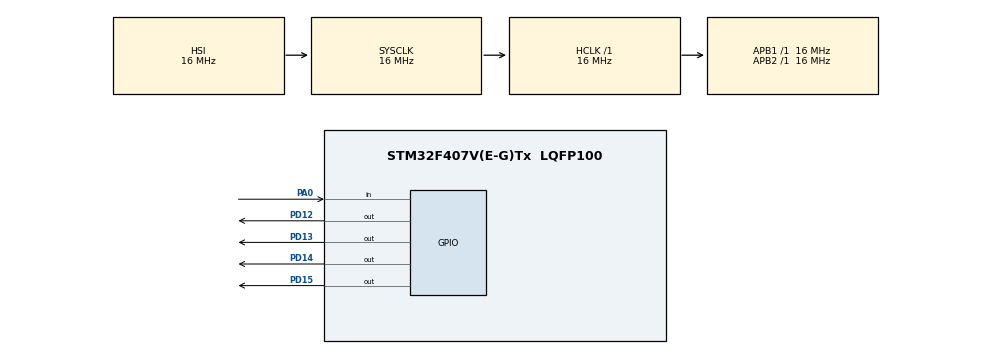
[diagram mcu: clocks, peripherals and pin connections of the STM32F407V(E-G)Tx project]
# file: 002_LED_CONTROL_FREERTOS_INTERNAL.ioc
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FREERTOS.Tasks01=buttonTask,0,128,buttonControlTask,Default,NULL,Dynamic,NULL,NULL;led,0,128,ledFlashTask,Default,NULL,Dynamic,NULL,NULL
Mcu.Family=STM32F4
Mcu.Name=STM32F407V(E-G)Tx
Mcu.Package=LQFP100
NVIC.PriorityGroup=NVIC_PRIORITYGROUP_4
PA0-WKUP.Signal=GPIO_Input
PD12.Signal=GPIO_Output
PD13.Signal=GPIO_Output
PD14.Signal=GPIO_Output
PD15.Signal=GPIO_Output
ProjectManager.HeapSize=0x200
ProjectManager.StackSize=0x400
ProjectManager.TargetToolchain=STM32CubeIDE
RCC.AHBFreq_Value=16000000
RCC.APB1Freq_Value=16000000
RCC.APB2Freq_Value=16000000
RCC.CortexFreq_Value=16000000
RCC.HSE_VALUE=25000000
RCC.HSI_VALUE=16000000
RCC.LSE_VALUE=32768
RCC.SYSCLKFreq_VALUE=16000000
RCC.VCOOutputFreq_Value=192000000
VP_FREERTOS_VS_CMSIS_V1.Mode=CMSIS_V1
board=custom

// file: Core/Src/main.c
/* USER CODE BEGIN Header */
/**
  ******************************************************************************
  * @file           : main.c
  * @brief          : Main program body
  ******************************************************************************
  * @attention
  *
  * <h2><center>&copy; Copyright (c) 2020 STMicroelectronics.
  * All rights reserved.</center></h2>
  *
  * This software component is licensed by ST under BSD 3-Clause license,
  * the "License"; You may not use this file except in compliance with the
  * License. You may obtain a copy of the License at:
  *                        opensource.org/licenses/BSD-3-Clause
  *
  ******************************************************************************
  */
/* USER CODE END Header */
#include "main.h"
#include "cmsis_os.h"

osThreadId buttonTaskHandle;
osThreadId ledHandle;
/* USER CODE BEGIN PV */
uint8_t counter;
/* USER CODE END PV */

void SystemClock_Config(void);
static void MX_GPIO_Init(void);
void buttonControlTask(void const * argument);
void ledFlashTask(void const * argument);

int main(void)
{

  /* MCU Configuration--------------------------------------------------------*/

  /* Reset of all peripherals, Initializes the Flash interface and the Systick. */
  HAL_Init();

  /* Configure the system clock */
  SystemClock_Config();

  /* Initialize all configured peripherals */
  MX_GPIO_Init();

  /* Create the thread(s) */
  /* definition and creation of buttonTask */
  osThreadDef(buttonTask, buttonControlTask, osPriorityHigh, 0, 128);
  buttonTaskHandle = osThreadCreate(osThread(buttonTask), NULL);

  /* definition and creation of led */
  osThreadDef(led, ledFlashTask, osPriorityHigh, 0, 128);
  ledHandle = osThreadCreate(osThread(led), NULL);

  /* Start scheduler */
  osKernelStart();

  /* We should never get here as control is now taken by the scheduler */
  /* Infinite loop */
  while (1)
  {

  }
}

void SystemClock_Config(void)
{
  RCC_OscInitTypeDef RCC_OscInitStruct = {0};
  RCC_ClkInitTypeDef RCC_ClkInitStruct = {0};

  /** Configure the main internal regulator output voltage
  */
  __HAL_RCC_PWR_CLK_ENABLE();
  __HAL_PWR_VOLTAGESCALING_CONFIG(PWR_REGULATOR_VOLTAGE_SCALE1);
  /** Initializes the RCC Oscillators according to the specified parameters
  * in the RCC_OscInitTypeDef structure.
  */
  RCC_OscInitStruct.OscillatorType = RCC_OSCILLATORTYPE_HSI;
  RCC_OscInitStruct.HSIState = RCC_HSI_ON;
  RCC_OscInitStruct.HSICalibrationValue = RCC_HSICALIBRATION_DEFAULT;
  RCC_OscInitStruct.PLL.PLLState = RCC_PLL_NONE;
  if (HAL_RCC_OscConfig(&RCC_OscInitStruct) != HAL_OK)
  {
    Error_Handler();
  }
  /** Initializes the CPU, AHB and APB buses clocks
  */
  RCC_ClkInitStruct.ClockType = RCC_CLOCKTYPE_HCLK|RCC_CLOCKTYPE_SYSCLK
                              |RCC_CLOCKTYPE_PCLK1|RCC_CLOCKTYPE_PCLK2;
  RCC_ClkInitStruct.SYSCLKSource = RCC_SYSCLKSOURCE_HSI;
  RCC_ClkInitStruct.AHBCLKDivider = RCC_SYSCLK_DIV1;
  RCC_ClkInitStruct.APB1CLKDivider = RCC_HCLK_DIV1;
  RCC_ClkInitStruct.APB2CLKDivider = RCC_HCLK_DIV1;

  if (HAL_RCC_ClockConfig(&RCC_ClkInitStruct, FLASH_LATENCY_0) != HAL_OK)
  {
    Error_Handler();
  }
}

static void MX_GPIO_Init(void)
{
  GPIO_InitTypeDef GPIO_InitStruct = {0};

  /* GPIO Ports Clock Enable */
  __HAL_RCC_GPIOA_CLK_ENABLE();
  __HAL_RCC_GPIOD_CLK_ENABLE();

  /*Configure GPIO pin Output Level */
  HAL_GPIO_WritePin(GPIOD, GPIO_PIN_12|GPIO_PIN_13|GPIO_PIN_14|GPIO_PIN_15, GPIO_PIN_RESET);

  /*Configure GPIO pin : PA0 */
  GPIO_InitStruct.Pin = GPIO_PIN_0;
  GPIO_InitStruct.Mode = GPIO_MODE_INPUT;
  GPIO_InitStruct.Pull = GPIO_NOPULL;
  HAL_GPIO_Init(GPIOA, &GPIO_InitStruct);

  /*Configure GPIO pins : PD12 PD13 PD14 PD15 */
  GPIO_InitStruct.Pin = GPIO_PIN_12|GPIO_PIN_13|GPIO_PIN_14|GPIO_PIN_15;
  GPIO_InitStruct.Mode = GPIO_MODE_OUTPUT_PP;
  GPIO_InitStruct.Pull = GPIO_NOPULL;
  GPIO_InitStruct.Speed = GPIO_SPEED_FREQ_LOW;
  HAL_GPIO_Init(GPIOD, &GPIO_InitStruct);

}

void buttonControlTask(void const * argument)
{
  /* USER CODE BEGIN 5 */
  /* Infinite loop */
  for(;;)
  {
	  if(HAL_GPIO_ReadPin(GPIOA, GPIO_PIN_0)==1){
		  while(HAL_GPIO_ReadPin(GPIOA, GPIO_PIN_0));
		  counter++;
		  if(counter == 5)
			  counter = 0;
	  }

  }
  /* USER CODE END 5 */
}

void ledFlashTask(void const * argument)
{
  /* USER CODE BEGIN ledFlashTask */
  /* Infinite loop */
  for(;;)
  {
	  if(counter == 0){
		  HAL_GPIO_WritePin(GPIOD, GPIO_PIN_All, DISABLE);
	  }
	  else if(counter == 1){
		  HAL_GPIO_TogglePin(GPIOD, GPIO_PIN_All);
		  osDelay(1000);
	  }
	  else if(counter == 2){
		  HAL_GPIO_TogglePin(GPIOD, GPIO_PIN_All);
		  osDelay(750);
	  }
	  else if(counter == 3){
		  HAL_GPIO_TogglePin(GPIOD, GPIO_PIN_All);
		  osDelay(500);
	  }
	  else if(counter == 4){
		  HAL_GPIO_TogglePin(GPIOD, GPIO_PIN_All);
		  osDelay(250);
	  }
  }
  /* USER CODE END ledFlashTask */
}

void Error_Handler(void)
{
  __disable_irq();
  while (1)
  {
  }
}

/************************ (C) COPYRIGHT STMicroelectronics *****END OF FILE****/
